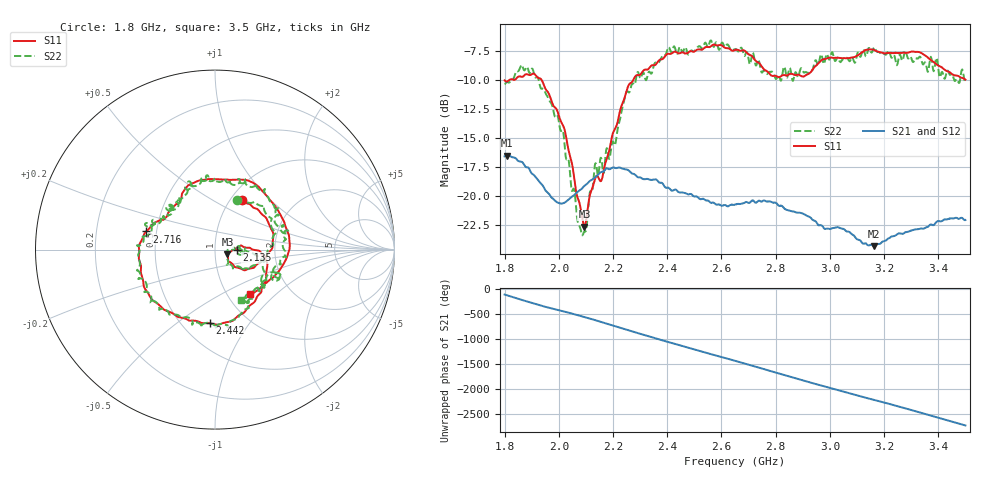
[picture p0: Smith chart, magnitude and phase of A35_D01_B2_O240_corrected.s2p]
! Created with skrf 1.9.0 (http://scikit-rf.org).
# Hz S RI R 50.0
!freq ReS11 ImS11 ReS21 ImS21 ReS12 ImS12 ReS22 ImS22
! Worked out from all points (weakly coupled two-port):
!   1601 points, 1.8 GHz to 3.5 GHz, reference 50 ohm
!   highest |S21| = -16.51 dB at 1.81 GHz (marker M1); lowest = -24.3 dB at 3.162 GHz (marker M2)
!   lowest |S11| = -22.6 dB at 2.094 GHz (marker M3), VSWR 1.16, Z = 57.4 - j2.94 ohm
!   |S11| at or under -10 dB: start of sweep to 1.817 GHz; 1.937 GHz to 2.275 GHz (338 MHz wide, 16.1 % of centre)
!   |S22| runs from -23.4 to -6.6 dB; largest |S21 - S12| = 0.0029
!   S11 on the Smith chart (normalised r, x): 1.8 GHz: 1.12, +0.69; 2.135 GHz: 1.27, -0.01; 2.442 GHz: 0.68, -0.67; 2.716 GHz: 0.44, +0.11; 3.5 GHz: 1.27, -0.70
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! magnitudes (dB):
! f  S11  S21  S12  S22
! 1.8 GHz  -10.0  -16.6  -16.6  -10.4
! 1.81 GHz  -10.1  -16.5  -16.5  -10.2
! 1.859 GHz  -9.7  -17.0  -17.1  -8.8
! 1.901 GHz  -9.5  -18.0  -18.0  -9.0
! 1.967 GHz  -11.4  -19.9  -20.0  -11.8
! 2.021 GHz  -14.2  -20.5  -20.5  -15.5
! 2.084 GHz  -21.4  -19.4  -19.3  -23.1
! 2.094 GHz  -22.6  -19.1  -19.1  -23.0
! 2.135 GHz  -18.4  -18.3  -18.3  -17.2
! 2.159 GHz  -18.5  -17.9  -17.8  -17.1
! 2.208 GHz  -14.2  -17.6  -17.5  -15.5
! 2.258 GHz  -10.4  -17.8  -17.8  -11.1
! 2.367 GHz  -8.4  -18.7  -18.7  -8.5
! 2.442 GHz  -7.7  -19.6  -19.6  -7.4
! 2.65 GHz  -7.4  -20.7  -20.7  -7.3
! 2.716 GHz  -8.0  -20.4  -20.3  -7.6
! 2.813 GHz  -9.8  -20.8  -20.7  -9.7
! 2.934 GHz  -9.2  -22.0  -21.9  -9.2
! 3.162 GHz  -7.4  -24.3  -24.2  -7.2
! 3.217 GHz  -7.7  -23.6  -23.6  -7.5
! 3.331 GHz  -7.6  -22.8  -22.8  -8.0
! 3.5 GHz  -10.0  -22.0  -22.0  -10.1
